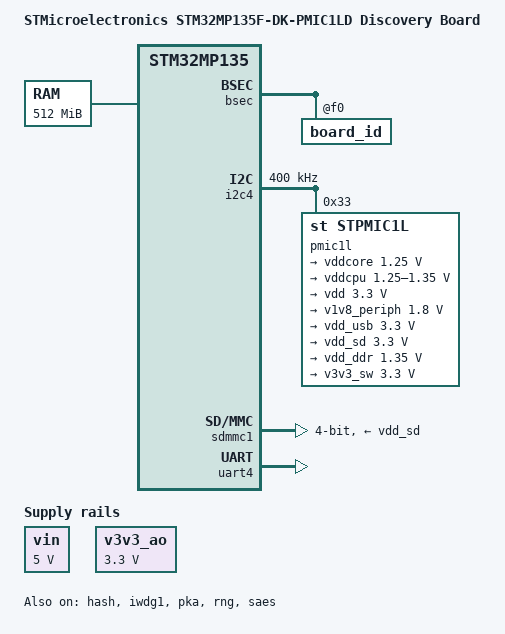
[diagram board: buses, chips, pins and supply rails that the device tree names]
// SPDX-License-Identifier: (GPL-2.0-only OR BSD-3-Clause)
/*
 * Copyright (C) 2025, STMicroelectronics - All Rights Reserved
 */

/dts-v1/;

#include <dt-bindings/clock/stm32mp13-clksrc.h>
#include "stm32mp135.dtsi"
#include "stm32mp13xf.dtsi"
#include "stm32mp13-ddr3-1x4Gb-1066-binF.dtsi"
#include "stm32mp13-pinctrl.dtsi"

/ {
	model = "STMicroelectronics STM32MP135F-DK-PMIC1LD Discovery Board";
	compatible = "st,stm32mp135f-dk-pmic1ld", "st,stm32mp135";

	aliases {
		serial0 = &uart4;
		serial1 = &usart1;
		serial2 = &uart8;
		serial3 = &usart2;
	};

	chosen {
		stdout-path = "serial0:115200n8";
	};

	memory@c0000000 {
		device_type = "memory";
		reg = <0xc0000000 0x20000000>;
	};

	vin: vin {
		compatible = "regulator-fixed";
		regulator-name = "vin";
		regulator-min-microvolt = <5000000>;
		regulator-max-microvolt = <5000000>;
		regulator-always-on;
	};

	v3v3_ao: v3v3_ao {
		compatible = "regulator-fixed";
		regulator-name = "v3v3_ao";
		regulator-min-microvolt = <3300000>;
		regulator-max-microvolt = <3300000>;
		regulator-always-on;
	};
};

&bsec {
	board_id: board_id@f0 {
		reg = <0xf0 0x4>;
		st,non-secure-otp;
	};
};

&cpu0 {
	cpu-supply = <&vddcpu>;
};

&ddr {
	vdd-supply = <&vdd_ddr>;
};

&hash {
	status = "okay";
};

&i2c4 {
	pinctrl-names = "default";
	pinctrl-0 = <&i2c4_pins_a>;
	i2c-scl-rising-time-ns = <185>;
	i2c-scl-falling-time-ns = <20>;
	clock-frequency = <400000>;
	status = "okay";

	pmic1l: pmic@33 {
		compatible = "st,stpmic1l";
		reg = <0x33>;
		status = "okay";

		regulators {
			compatible = "st,stpmic2-regulators";
			buck1-supply = <&vin>;
			buck2-supply = <&vin>;
			ldo2-supply = <&vin>;
			ldo3-supply = <&vin>;
			ldo4-supply = <&vin>;
			ldo5-supply = <&vin>;

			vddcore: buck1 {
				regulator-name = "vddcore";
				regulator-min-microvolt = <1250000>;
				regulator-max-microvolt = <1250000>;
				regulator-always-on;
				regulator-over-current-protection;
			};

			vddcpu: buck2 {
				regulator-name = "vddcpu";
				regulator-min-microvolt = <1250000>;
				regulator-max-microvolt = <1350000>;
				regulator-always-on;
				regulator-over-current-protection;
			};

			vdd: ldo2 {
				regulator-name = "vdd";
				regulator-min-microvolt = <3300000>;
				regulator-max-microvolt = <3300000>;
				regulator-always-on;
				st,mask-reset;
				regulator-over-current-protection;
			};

			v1v8_periph: ldo3 {
				regulator-name = "v1v8_periph";
				regulator-min-microvolt = <1800000>;
				regulator-max-microvolt = <1800000>;
			};

			vdd_usb: ldo4 {
				regulator-name = "vdd_usb";
				regulator-min-microvolt = <3300000>;
				regulator-max-microvolt = <3300000>;
			};

			vdd_sd: ldo5 {
				regulator-name = "vdd_sd";
				regulator-min-microvolt = <3300000>;
				regulator-max-microvolt = <3300000>;
				regulator-boot-on;
			};

			vdd_ddr: gpo1 {
				regulator-name = "vdd_ddr";
				regulator-min-microvolt = <1350000>;
				regulator-max-microvolt = <1350000>;
				regulator-always-on;
			};

			v3v3_sw: gpo2 {
				regulator-name = "v3v3_sw";
				regulator-min-microvolt = <3300000>;
				regulator-max-microvolt = <3300000>;
				regulator-always-on;
			};
		};
	};
};

&iwdg1 {
	timeout-sec = <32>;
	status = "okay";
};

&pka {
	status = "okay";
};

&pwr_regulators {
	vdd-supply = <&vdd>;
	vdd_3v3_usbfs-supply = <&vdd_usb>;
};

&rcc {
	st,clksrc = <
		CLK_MPU_PLL1P
		CLK_AXI_PLL2P
		CLK_MLAHBS_PLL3
		CLK_CKPER_HSE
		CLK_SDMMC1_PLL4P
		CLK_SDMMC2_PLL4P
		CLK_STGEN_HSE
		CLK_USBPHY_HSE
		CLK_I2C4_HSI
		CLK_USBO_USBPHY
		CLK_I2C12_HSI
		CLK_UART2_HSI
		CLK_UART4_HSI
		CLK_SAES_AXI
	>;

	st,clkdiv = <
		DIV(DIV_AXI, 0)
		DIV(DIV_MLAHB, 0)
		DIV(DIV_APB1, 1)
		DIV(DIV_APB2, 1)
		DIV(DIV_APB3, 1)
		DIV(DIV_APB4, 1)
		DIV(DIV_APB5, 2)
		DIV(DIV_APB6, 1)
	>;

	st,pll_vco {
		pll2_vco_1066Mhz: pll2-vco-1066Mhz {
			src = <CLK_PLL12_HSE>;
			divmn = <2 65>;
			frac = <0x1400>;
		};

		pll3_vco_417Mhz: pll3-vco-417Mhz {
			src = <CLK_PLL3_HSE>;
			divmn = <1 33>;
			frac = <0x1a04>;
		};

		pll4_vco_600Mhz: pll4-vco-600Mhz {
			src = <CLK_PLL4_HSE>;
			divmn = <1 49>;
		};
	};

	/* VCO = 1066.0 MHz => P = 266 (AXI), Q = 266, R = 533 (DDR) */
	pll2:st,pll@1 {
		compatible = "st,stm32mp1-pll";
		reg = <1>;

		st,pll = <&pll2_cfg1>;

		pll2_cfg1: pll2_cfg1 {
			st,pll_vco = <&pll2_vco_1066Mhz>;
			st,pll_div_pqr = <1 1 0>;
		};
	};

	/* VCO = 417.8 MHz => P = 209, Q = 24, R = 209 */
	pll3:st,pll@2 {
		compatible = "st,stm32mp1-pll";
		reg = <2>;

		st,pll = <&pll3_cfg1>;

		pll3_cfg1: pll3_cfg1 {
			st,pll_vco = <&pll3_vco_417Mhz>;
			st,pll_div_pqr = <1 16 1>;
		};
	};

	/* VCO = 600.0 MHz => P = 50, Q = 10, R = 100 */
	pll4:st,pll@3 {
		compatible = "st,stm32mp1-pll";
		reg = <3>;

		st,pll = <&pll4_cfg1>;

		pll4_cfg1: pll4_cfg1 {
			st,pll_vco = <&pll4_vco_600Mhz>;
			st,pll_div_pqr = <11 59 5>;
		};
	};
};

&rng {
	status = "okay";
};

&saes {
	status = "okay";
};

&sdmmc1 {
	pinctrl-names = "default";
	pinctrl-0 = <&sdmmc1_b4_pins_a &sdmmc1_clk_pins_a>;
	disable-wp;
	st,neg-edge;
	bus-width = <4>;
	vmmc-supply = <&vdd_sd>;
	status = "okay";
};

&uart4 {
	pinctrl-names = "default";
	pinctrl-0 = <&uart4_pins_a>;
	status = "okay";
};

&uart8 {
	pinctrl-names = "default";
	pinctrl-0 = <&uart8_pins_a>;
	status = "disabled";
};

&usart1 {
	pinctrl-names = "default";
	pinctrl-0 = <&usart1_pins_a>;
	uart-has-rtscts;
	status = "disabled";
};
